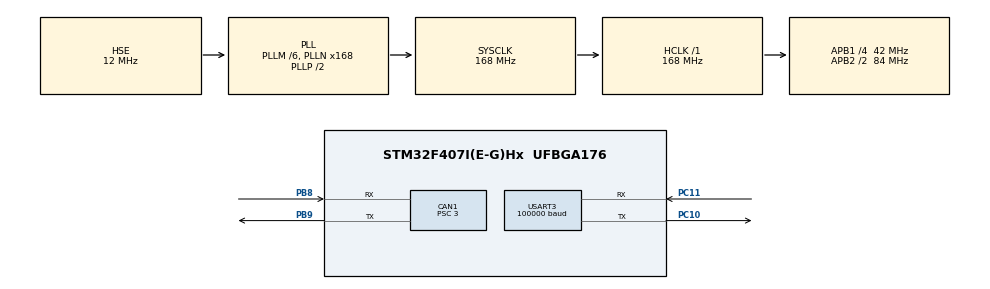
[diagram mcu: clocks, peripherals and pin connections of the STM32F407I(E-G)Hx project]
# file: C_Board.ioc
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CAN1.ABOM=ENABLE
CAN1.BS1=CAN_BS1_9TQ
CAN1.BS2=CAN_BS2_4TQ
CAN1.CalculateBaudRate=1000000
CAN1.CalculateTimeBit=1000
CAN1.CalculateTimeQuantum=71.42857142857143
CAN1.NART=ENABLE
CAN1.Prescaler=3
Dma.Request0=USART3_RX
Dma.USART3_RX.0.Direction=DMA_PERIPH_TO_MEMORY
Dma.USART3_RX.0.FIFOMode=DMA_FIFOMODE_DISABLE
Dma.USART3_RX.0.Instance=DMA1_Stream1
Dma.USART3_RX.0.MemDataAlignment=DMA_MDATAALIGN_BYTE
Dma.USART3_RX.0.MemInc=DMA_MINC_ENABLE
Dma.USART3_RX.0.Mode=DMA_NORMAL
Dma.USART3_RX.0.PeriphDataAlignment=DMA_PDATAALIGN_BYTE
Dma.USART3_RX.0.PeriphInc=DMA_PINC_DISABLE
Dma.USART3_RX.0.Priority=DMA_PRIORITY_LOW
Mcu.Family=STM32F4
Mcu.Name=STM32F407I(E-G)Hx
Mcu.Package=UFBGA176
NVIC.CAN1_RX0_IRQn=true\:0\:0\:false\:false\:true\:true\:true\:true
NVIC.DMA1_Stream1_IRQn=true\:0\:0\:false\:false\:true\:false\:true\:true
NVIC.PriorityGroup=NVIC_PRIORITYGROUP_4
NVIC.USART3_IRQn=true\:0\:0\:false\:false\:true\:true\:true\:true
PA13.Mode=Serial_Wire
PA13.Signal=SYS_JTMS-SWDIO
PA14.Mode=Serial_Wire
PA14.Signal=SYS_JTCK-SWCLK
PB8.Mode=CAN_Activate
PB8.Signal=CAN1_RX
PB9.Mode=CAN_Activate
PB9.Signal=CAN1_TX
PC10.Mode=Asynchronous
PC10.Signal=USART3_TX
PC11.Mode=Asynchronous
PC11.Signal=USART3_RX
PH0-OSC_IN.Mode=HSE-External-Oscillator
PH0-OSC_IN.Signal=RCC_OSC_IN
PH1-OSC_OUT.Mode=HSE-External-Oscillator
PH1-OSC_OUT.Signal=RCC_OSC_OUT
ProjectManager.HeapSize=0x200
ProjectManager.StackSize=0x400
ProjectManager.TargetToolchain=Makefile
RCC.48MHZClocksFreq_Value=84000000
RCC.AHBFreq_Value=168000000
RCC.APB1CLKDivider=RCC_HCLK_DIV4
RCC.APB1Freq_Value=42000000
RCC.APB1TimFreq_Value=84000000
RCC.APB2CLKDivider=RCC_HCLK_DIV2
RCC.APB2Freq_Value=84000000
RCC.APB2TimFreq_Value=168000000
RCC.CortexFreq_Value=168000000
RCC.HCLKFreq_Value=168000000
RCC.HSE_VALUE=12000000
RCC.HSI_VALUE=16000000
RCC.LSE_VALUE=32768
RCC.PLLM=6
RCC.PLLN=168
RCC.PLLSourceVirtual=RCC_PLLSOURCE_HSE
RCC.SYSCLKFreq_VALUE=168000000
RCC.SYSCLKSource=RCC_SYSCLKSOURCE_PLLCLK
RCC.VCOOutputFreq_Value=336000000
USART3.BaudRate=100000
USART3.Parity=PARITY_EVEN
USART3.StopBits=STOPBITS_2
USART3.VirtualMode=VM_ASYNC
USART3.WordLength=WORDLENGTH_9B
board=custom

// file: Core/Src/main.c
/* USER CODE BEGIN Header */
/**
  ******************************************************************************
  * @file           : main.c
  * @brief          : Main program body
  ******************************************************************************
  * @attention
  *
  * Copyright (c) 2026 STMicroelectronics.
  * All rights reserved.
  *
  * This software is licensed under terms that can be found in the LICENSE file
  * in the root directory of this software component.
  * If no LICENSE file comes with this software, it is provided AS-IS.
  *
  ******************************************************************************
  */
/* USER CODE END Header */
#include "main.h"

/* USER CODE BEGIN Includes */
#include <math.h>
/* USER CODE END Includes */

/* USER CODE BEGIN PTD */
//定义一个结构体存电机数据
typedef struct{
  uint16_t ecd;//编码器值（8191）
  int16_t speed_rpm;//转速
  int16_t real_current;//实际电流
  int16_t real_current_handle;//滤波后的电流
  uint8_t temperature;//温度

}motor_measure_t;
/* USER CODE END PTD */

/* USER CODE BEGIN PD */
typedef struct {
int16_t rocker_l_;
int16_t rocker_l1;
int16_t rocker_r_;
int16_t rocker_r1;
int16_t SWA;
int16_t SWB;
int16_t SWC;
int16_t SWD;
int16_t VRA;
int16_t VRB;
uint8_t error_protect;
uint8_t byte_lose;//真丢失标志位
uint8_t offline;//超过100ms没收到有效帧就置1

}RC_ctrl_t;

static RC_ctrl_t rc_data;//遥控�?

int16_t CH[16];//存放解析后的16个�?�道数据
uint8_t start_byte,flag_byte,stop_byte;//代表状�?�的变量
/* USER CODE END PD */

CAN_HandleTypeDef hcan1;

UART_HandleTypeDef huart3;
DMA_HandleTypeDef hdma_usart3_rx;

/* USER CODE BEGIN PV */
 int16_t current_cmd = 0;//变为全局变量，方便在Ozone里面查看数据表现
motor_measure_t motor1_measure;

//发送电流指令时单片机只能一个字节一个字节地发，这里把电流拆成2个字节，再配上6个0，再配上6个0，凑齐八个字节装进去
uint8_t can1_tx_buff[8];
//电机接收指令后回信，根据数据格式去拆解数据，大疆的电调回信固定是8个字节，单片机把收到的数据暂时存在这个里面
uint8_t can1_rx_buff[8];
//只有数据不行，这里告诉CAN硬件如何去传递，这里里面有标准帧ID，控制电调是0x200，标准帧，长度（8字节），在之后对里面的东西进行处理
CAN_TxHeaderTypeDef motor1_txconf;//发送报文头配置
//单片机里面有3个邮箱，调用发送函数时（HAL——CAN_AddMessage)，硬件会自动找一个去发数据，然后tx_mailbox就会记录硬件用了第几个邮箱，由硬件自己去发送
uint32_t tx_mailbox;             //发送邮箱编号（发送时要传这个参数）

volatile uint8_t data_ready_flag = 0;
uint8_t buf[25];//DMA接收
uint8_t buf_copy[25];//临时储存
volatile uint32_t last_frame_tick = 0;//�?后一次收到有效帧的时�?
/* USER CODE END PV */

void SystemClock_Config(void);
static void MX_GPIO_Init(void);
static void MX_DMA_Init(void);
static void MX_USART3_UART_Init(void);
static void MX_CAN1_Init(void);

/* USER CODE BEGIN 0 */
// 这个函数可以进行 11 位一组切出来，并减去 1024
//串口发的数据是八位，但是摇杆的位置需�?11�?
//0x07FF:保留11�??
void BufToChannel(void) {
  CH[0] = ((((int16_t)buf_copy[1] >> 0) | ((int16_t)buf_copy[2] << 8)) & 0x07FF) - 1024;
  CH[1] = ((((int16_t)buf_copy[2] >> 3) | ((int16_t)buf_copy[3] << 5)) & 0x07FF) - 1024;
  CH[2] = ((((int16_t)buf_copy[3] >> 6) | ((int16_t)buf_copy[4] << 2) | ((int16_t)buf_copy[5] << 10)) & 0x07FF) - 1024;
  CH[3] = ((((int16_t)buf_copy[5] >> 1) | ((int16_t)buf_copy[6] << 7)) & 0x07FF) - 1024;
  CH[4] = ((((int16_t)buf_copy[6] >> 4) | ((int16_t)buf_copy[7] << 4)) & 0x07FF) - 1024;
  CH[5] = ((((int16_t)buf_copy[7] >> 7) | ((int16_t)buf_copy[8] << 1) | ((int16_t)buf_copy[9] << 9)) & 0x07FF) - 1024;
  CH[6] = ((((int16_t)buf_copy[9] >> 2) | ((int16_t)buf_copy[10] << 6)) & 0x07FF) - 1024;
  CH[7] = ((((int16_t)buf_copy[10] >> 5) | ((int16_t)buf_copy[11] << 3)) & 0x07FF) - 1024;
  CH[8] = ((((int16_t)buf_copy[12] >> 0) | ((int16_t)buf_copy[13] << 8)) & 0x07FF) - 1024;
  CH[9] = ((((int16_t)buf_copy[13] >> 3) | ((int16_t)buf_copy[14] << 5)) & 0x07FF) - 1024;
}
/* USER CODE END 0 */

int main(void)
{

  /* MCU Configuration--------------------------------------------------------*/

  /* Reset of all peripherals, Initializes the Flash interface and the Systick. */
  HAL_Init();

  /* Configure the system clock */
  SystemClock_Config();

  /* Initialize all configured peripherals */
  MX_GPIO_Init();
  MX_DMA_Init();
  MX_USART3_UART_Init();
  MX_CAN1_Init();
  /* USER CODE BEGIN 2 */

  // 1. 配置发送报文头 (控制1号电调用)
  //对各个数据进行填写，告诉单片机怎么给电机发指令，大疆规定给1~4号电机发指令，标准帧ID必须写0x200
  motor1_txconf.StdId = 0x200;// 标准帧ID，控制1~4号电调
  motor1_txconf.IDE = CAN_ID_STD;   // 标准帧
  motor1_txconf.RTR = CAN_RTR_DATA;   // 数据帧
  motor1_txconf.DLC = 8;     // 数据长度8字节
  motor1_txconf.TransmitGlobalTime = DISABLE;

  // 2. 配置CAN1过滤器（只接收0x201电调反馈）
  CAN_FilterTypeDef can1_filter;//使用
  //配置参数
  can1_filter.FilterMode = CAN_FILTERMODE_IDLIST; // 打开列表模式
  can1_filter.FilterScale = CAN_FILTERSCALE_16BIT; // 16位宽度
  can1_filter.FilterFIFOAssignment = CAN_RX_FIFO1; // 存入FIFO1
  can1_filter.FilterBank = 0;               // 使用第0组过滤器
  can1_filter.SlaveStartFilterBank = 14;     // 0~13给CAN1，14~27给CAN2

  // 将0x201左移5位，填满4个匹配项（死规则）
  can1_filter.FilterIdHigh = (0x201 << 5); // 16位模式下，高寄存器放标准ID
  can1_filter.FilterIdLow = (0x201 << 5);
  can1_filter.FilterMaskIdHigh = (0x201 << 5); // 列表模式下，Mask也填ID
  can1_filter.FilterMaskIdLow = (0x201 << 5);
  can1_filter.FilterActivation = ENABLE;       // 开启过滤器

  // 3. 将过滤器配置写入硬件
  if (HAL_CAN_ConfigFilter(&hcan1, &can1_filter) != HAL_OK)
  {
  // 如果配置失败，进入死循环
      Error_Handler();
  }

  // 4. 启动CAN1
  if (HAL_CAN_Start(&hcan1) != HAL_OK)//启动并且进行启动失败的错误处理
  {
      Error_Handler();
  }

  // 5. 开启FIFO1接收中断（电调反馈存在FIFO1）
  if (HAL_CAN_ActivateNotification(&hcan1, CAN_IT_RX_FIFO1_MSG_PENDING) != HAL_OK)
  {
      Error_Handler();
  }

  // 算正弦波
  float phase = 0.0f;//定义一个变量对应正弦波

  //启动串口DMA空闲中断接收
HAL_UARTEx_ReceiveToIdle_DMA(&huart3,buf,25);
//关闭半传输中断（设计漏洞�??
__HAL_DMA_DISABLE_IT(huart3.hdmarx,DMA_IT_HT);
last_frame_tick = HAL_GetTick();//先记�?下时间，避免�?上电就离�?

  /* USER CODE END 2 */

  /* Infinite loop */
  while (1)
  {

    /* USER CODE BEGIN 3 */
    if(data_ready_flag==1){
      data_ready_flag=0;

      start_byte = buf_copy[0]; // 帧头 0x0F

     BufToChannel(); // 调用解析函数，把数据塞进 CH 数组

    flag_byte = buf_copy[23];
        stop_byte = buf_copy[24];

        // 把解析出来的值赋�?
    rc_data.rocker_r_ = CH[0];
    rc_data.rocker_r1 = CH[1];
    rc_data.rocker_l1 = CH[2];
    rc_data.rocker_l_ = CH[3];
    rc_data.SWA       = CH[4];
    rc_data.SWB       = CH[5];
    rc_data.SWC       = CH[6];
    rc_data.SWD       = CH[7];
   rc_data.VRA       = CH[8];
    rc_data.VRB       = CH[9];

        // 状�?�改变标志位（用位运算抠出来�?
        rc_data.error_protect = (flag_byte >> 3) & 0x01;
        rc_data.byte_lose     = (flag_byte >> 2) & 0x01;
    }
    //超过100ms没收到新的，就认为遥控器断开了（要求�?100ms处理�?

    if(HAL_GetTick() - last_frame_tick > 100){//本来用的后面发现错了
      rc_data.offline = 1;
    }else{
      rc_data.offline = 0;
    }

//第五周主循环
    // 1. 生成正弦变化的电流指令 (幅值1000)
    current_cmd = (int16_t)(1000.0f * sinf(phase));//算出目标电流值
    phase += 0.02f * 3.14159265f; // 调整正弦波的频率
    if (phase > 2.0f * 3.14159265f) {
        phase -= 2.0f * 3.14159265f; // 防止phase一直增加导致浮点数溢出
    }

    // 2. 判断CAN1是否有空闲发送邮箱
    if (HAL_CAN_GetTxMailboxesFreeLevel(&hcan1) > 0)
    {
        // 3. 组装数据 (1号电调占 DATA[0] 和 DATA[1])
        // 必须把 int16_t 强转为 uint16_t，方便位移操作
        uint16_t raw_current = (uint16_t)current_cmd;

        // 高字节在前
        can1_tx_buff[0] = (uint8_t)(raw_current >> 8);//大疆规定高字节在前
        // 低字节在后
        can1_tx_buff[1] = (uint8_t)(raw_current & 0xFF);//只保留最后八位

        // 因为没有接2、3、4号电调，剩下的字节填0
        for (uint8_t i = 2; i < 8; i++) {
            can1_tx_buff[i] = 0;//剩下的都填进去0，因为只用了1好电机
        }

        // 4. 发送报文
        HAL_CAN_AddTxMessage(&hcan1, &motor1_txconf, can1_tx_buff, &tx_mailbox);
    }

    // 5. 延时10ms
    HAL_Delay(10);//控制电机不可以发的太快了
}

  /* USER CODE END 3 */
}

void SystemClock_Config(void)
{
  RCC_OscInitTypeDef RCC_OscInitStruct = {0};
  RCC_ClkInitTypeDef RCC_ClkInitStruct = {0};

  /** Configure the main internal regulator output voltage
  */
  __HAL_RCC_PWR_CLK_ENABLE();
  __HAL_PWR_VOLTAGESCALING_CONFIG(PWR_REGULATOR_VOLTAGE_SCALE1);

  /** Initializes the RCC Oscillators according to the specified parameters
  * in the RCC_OscInitTypeDef structure.
  */
  RCC_OscInitStruct.OscillatorType = RCC_OSCILLATORTYPE_HSE;
  RCC_OscInitStruct.HSEState = RCC_HSE_ON;
  RCC_OscInitStruct.PLL.PLLState = RCC_PLL_ON;
  RCC_OscInitStruct.PLL.PLLSource = RCC_PLLSOURCE_HSE;
  RCC_OscInitStruct.PLL.PLLM = 6;
  RCC_OscInitStruct.PLL.PLLN = 168;
  RCC_OscInitStruct.PLL.PLLP = RCC_PLLP_DIV2;
  RCC_OscInitStruct.PLL.PLLQ = 4;
  if (HAL_RCC_OscConfig(&RCC_OscInitStruct) != HAL_OK)
  {
    Error_Handler();
  }

  /** Initializes the CPU, AHB and APB buses clocks
  */
  RCC_ClkInitStruct.ClockType = RCC_CLOCKTYPE_HCLK|RCC_CLOCKTYPE_SYSCLK
                              |RCC_CLOCKTYPE_PCLK1|RCC_CLOCKTYPE_PCLK2;
  RCC_ClkInitStruct.SYSCLKSource = RCC_SYSCLKSOURCE_PLLCLK;
  RCC_ClkInitStruct.AHBCLKDivider = RCC_SYSCLK_DIV1;
  RCC_ClkInitStruct.APB1CLKDivider = RCC_HCLK_DIV4;
  RCC_ClkInitStruct.APB2CLKDivider = RCC_HCLK_DIV2;

  if (HAL_RCC_ClockConfig(&RCC_ClkInitStruct, FLASH_LATENCY_5) != HAL_OK)
  {
    Error_Handler();
  }
}

static void MX_CAN1_Init(void)
{

  hcan1.Instance = CAN1;
  hcan1.Init.Prescaler = 3;
  hcan1.Init.Mode = CAN_MODE_NORMAL;
  hcan1.Init.SyncJumpWidth = CAN_SJW_1TQ;
  hcan1.Init.TimeSeg1 = CAN_BS1_10TQ;
  hcan1.Init.TimeSeg2 = CAN_BS2_3TQ;
  hcan1.Init.TimeTriggeredMode = DISABLE;
  hcan1.Init.AutoBusOff = ENABLE;
  hcan1.Init.AutoWakeUp = DISABLE;
  hcan1.Init.AutoRetransmission = ENABLE;
  hcan1.Init.ReceiveFifoLocked = DISABLE;
  hcan1.Init.TransmitFifoPriority = DISABLE;
  if (HAL_CAN_Init(&hcan1) != HAL_OK)
  {
    Error_Handler();
  }

}

static void MX_USART3_UART_Init(void)
{

  huart3.Instance = USART3;
  huart3.Init.BaudRate = 100000;
  huart3.Init.WordLength = UART_WORDLENGTH_9B;
  huart3.Init.StopBits = UART_STOPBITS_2;
  huart3.Init.Parity = UART_PARITY_EVEN;
  huart3.Init.Mode = UART_MODE_TX_RX;
  huart3.Init.HwFlowCtl = UART_HWCONTROL_NONE;
  huart3.Init.OverSampling = UART_OVERSAMPLING_16;
  if (HAL_UART_Init(&huart3) != HAL_OK)
  {
    Error_Handler();
  }

}

static void MX_DMA_Init(void)
{

  /* DMA controller clock enable */
  __HAL_RCC_DMA1_CLK_ENABLE();

  /* DMA interrupt init */
  /* DMA1_Stream1_IRQn interrupt configuration */
  HAL_NVIC_SetPriority(DMA1_Stream1_IRQn, 0, 0);
  HAL_NVIC_EnableIRQ(DMA1_Stream1_IRQn);

}

static void MX_GPIO_Init(void)
{

  /* GPIO Ports Clock Enable */
  __HAL_RCC_GPIOA_CLK_ENABLE();
  __HAL_RCC_GPIOD_CLK_ENABLE();
  __HAL_RCC_GPIOC_CLK_ENABLE();
  __HAL_RCC_GPIOH_CLK_ENABLE();

}

/* USER CODE BEGIN 4 */
void HAL_UARTEx_RxEventCallback(UART_HandleTypeDef *huart, uint16_t Size) {
    if (huart == &huart3) {
      if(Size == 25&&buf[0]==0x0F&&buf[24]==0x00){
        for(int i=0;i<25;i++){
          buf_copy[i] = buf[i];
        }
        data_ready_flag=1;
last_frame_tick = HAL_GetTick();
      }

        // 处理完后，必须再次开启接收，否则只能收一�?(第一次直接忘�?)
        HAL_UARTEx_ReceiveToIdle_DMA(&huart3, buf, 25);
        __HAL_DMA_DISABLE_IT(huart3.hdmarx, DMA_IT_HT);
    }
}
void HAL_UART_ErrorCallback(UART_HandleTypeDef *huart) {
    if (huart == &huart3) {
        //先把接收停掉，把错误标志清干�?，不然可能一直卡在错误里
        HAL_UART_AbortReceive(&huart3);
        __HAL_UART_CLEAR_OREFLAG(huart);
        __HAL_UART_CLEAR_FEFLAG(huart);
        __HAL_UART_CLEAR_NEFLAG(huart);
        __HAL_UART_CLEAR_PEFLAG(huart);
        huart->ErrorCode = HAL_UART_ERROR_NONE;

        //重新�?启接收，启动失败再试�?�?
        if (HAL_UARTEx_ReceiveToIdle_DMA(&huart3, buf, 25) != HAL_OK) {
            HAL_UART_AbortReceive(&huart3);
            HAL_UARTEx_ReceiveToIdle_DMA(&huart3, buf, 25);
        }
        __HAL_DMA_DISABLE_IT(huart3.hdmarx, DMA_IT_HT);
    }
    //我真的尽力了，最后还是被ai�?查出来这个东西没写，过不了关
}

//第五周回调函数

// FIFO1接收回调
void HAL_CAN_RxFifo1MsgPendingCallback(CAN_HandleTypeDef *hcan)//规定的回调函数
{
    CAN_RxHeaderTypeDef rx_header;//申请一个临时的去存电机回的头部信息

    // 判断是不是CAN1触发的中断
    if (hcan->Instance == CAN1)//确定不是其他的误触的
    {
        // while循环读取，直到FIFO1为空（防止一次来多帧）
  while (HAL_CAN_GetRxFifoFillLevel(hcan, CAN_RX_FIFO1) > 0)//一号邮箱里面有没有空
   {
            // 取出报文到 rx_header 和 can1_rx_buff 里
    if (HAL_CAN_GetRxMessage(hcan, CAN_RX_FIFO1, &rx_header, can1_rx_buff) == HAL_OK)
  {
             // 确认是 0x201 发来的，且是标准帧STD、8字节
         if (rx_header.StdId == 0x201 && rx_header.IDE == CAN_ID_STD && rx_header.DLC == 8)
{
                    // 1. 之前定义的结构体 解析编码器值（高字节左移8位，再按位或低字节）
    motor1_measure.ecd = (uint16_t)((can1_rx_buff[0] << 8) | can1_rx_buff[1]);

                // 2. 解析转速 (注意：要强转成有符号 int16_t)
           motor1_measure.speed_rpm = (int16_t)((can1_rx_buff[2] << 8) | can1_rx_buff[3]);

                 // 3. 解析实际电流
          motor1_measure.real_current = (int16_t)((can1_rx_buff[4] << 8) | can1_rx_buff[5]);

                    // 4. 解析温度
           motor1_measure.temperature = can1_rx_buff[6];

                    // 5. 一阶低通滤波 (alpha = 0.1f，越小越平滑但滞后越大)
                    float alpha = 0.1f;//滤波系数
             motor1_measure.real_current_handle = (int16_t)((1.0f - alpha) * motor1_measure.real_current_handle + alpha * motor1_measure.real_current);
         }
       }
      }
  }
}

/* USER CODE END 4 */

void Error_Handler(void)
{
  __disable_irq();
  while (1)
  {
  }
}
